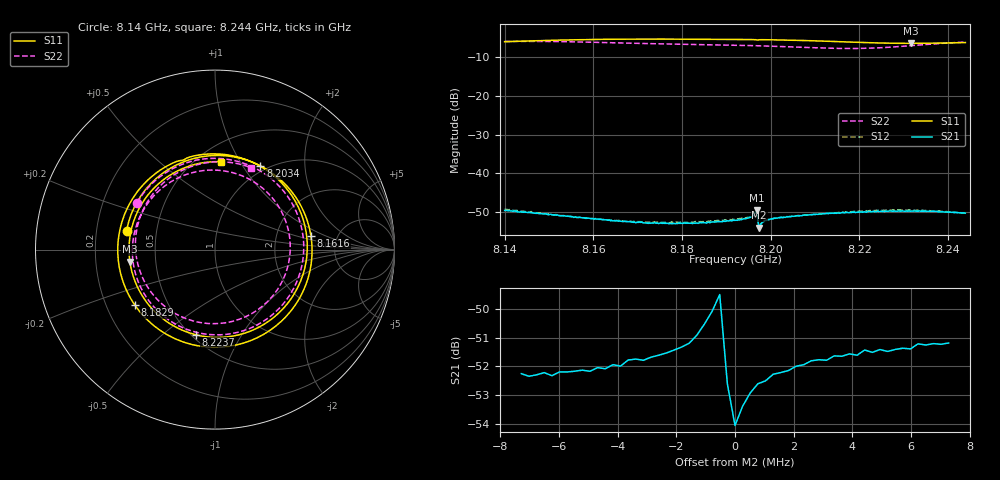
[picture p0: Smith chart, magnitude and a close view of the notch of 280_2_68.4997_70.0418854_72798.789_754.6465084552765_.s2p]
#  HZ  S  RI  R  50.00
! Rohde & Schwarz Vector Network Analyzer
! Rohde-Schwarz,ZNB20-2Port,1311601062101988,3.16
! Created: UTC 3/20/2024, 5:01:07 PM
! freq[Hz]  re:S11  im:S11  re:S21  im:S21  re:S12  im:S12  re:S22  im:S22
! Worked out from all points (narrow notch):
!   401 points, 8.14 GHz to 8.244 GHz, reference 50 ohm
!   highest |S21| = -49.49 dB at 8.1969 GHz (marker M1); lowest = -54.1 dB at 8.1974 GHz (marker M2)
!   notch at M2: 3.1 dB deep, 1.25 MHz wide at half that depth
!   lowest |S11| = -6.4 dB at 8.2317 GHz (marker M3), VSWR 2.84, Z = 17.7 - j3.06 ohm
!   |S11| at or under -10 dB: nowhere
!   |S22| runs from -7.7 to -5.9 dB; largest |S21 - S12| = 0.00026
!   S11 on the Smith chart (normalised r, x): 8.14 GHz: 0.33, +0.09; 8.1616 GHz: 3.19, +0.67; 8.1829 GHz: 0.32, -0.28; 8.2034 GHz: 0.93, +1.20; 8.2237 GHz: 0.53, -0.65; 8.244 GHz: 0.65, +0.83
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8.139996e9  -0.493 0.1023  -0.000977 -0.00315  -0.00107 -0.00324  -0.4338 0.2613
8.144674e9  -0.3419 0.3831  -0.00252 -0.00187  -0.00263 -0.00181  -0.2027 0.4671
8.149093e9  -0.0757 0.5168  -0.003 -0.000127  -0.00299 -5.81e-05  0.0802 0.5014
8.152991e9  0.1847 0.496  -0.00247 0.00138  -0.0025 0.00135  0.305 0.4017
8.157409e9  0.4242 0.3268  -0.00126 0.00236  -0.00126 0.00235  0.4646 0.1813
8.161567e9  0.5349 0.0739  0.000112 0.00254  0.0001 0.00257  0.4878 -0.0681
8.167545e9  0.4471 -0.3091  0.00169 0.00166  0.00166 0.00171  0.3132 -0.3682
8.174821e9  0.0311 -0.5436  0.00222 -0.000251  0.00231 -0.000255  -0.0817 -0.4659
8.182878e9  -0.4463 -0.3096  0.00106 -0.002  0.00107 -0.00211  -0.4223 -0.1922
8.187556e9  -0.5417 -0.00314  -0.000252 -0.00233  -0.000247 -0.00241  -0.455 0.0625
8.191974e9  -0.4555 0.2896  -0.00147 -0.00198  -0.00158 -0.00196  -0.3546 0.2838
8.196912e9  -0.1836 0.4975  -0.00335 2.79e-06  -0.0034 0.000158  -0.1244 0.4291
8.197432e9  -0.1573 0.5099  -0.00198 -4.98e-05  -0.00204 6.76e-06  -0.0961 0.4355
8.203409e9  0.2533 0.4639  -0.00223 0.00151  -0.00221 0.00163  0.2301 0.3687
8.209387e9  0.5006 0.1331  -0.000423 0.00288  -0.000371 0.00291  0.4141 0.0792
8.215624e9  0.4112 -0.2911  0.00205 0.00226  0.00216 0.00227  0.3044 -0.2775
8.219782e9  0.1702 -0.4639  0.00306 0.000767  0.00316 0.000667  0.0718 -0.4053
8.22368e9  -0.108 -0.4743  0.00302 -0.00103  0.0031 -0.00113  -0.1841 -0.3752
8.226799e9  -0.307 -0.3716  0.00234 -0.00227  0.00228 -0.00245  -0.3509 -0.2438
8.231737e9  -0.4744 -0.0666  0.000236 -0.00324  7.14e-05 -0.00333  -0.4405 0.0812
8.238234e9  -0.3293 0.3532  -0.00246 -0.00201  -0.00267 -0.00189  -0.1859 0.4401
8.243952e9  0.0324 0.4899  -0.00301 0.000473  -0.00297 0.000628  0.2025 0.4555
